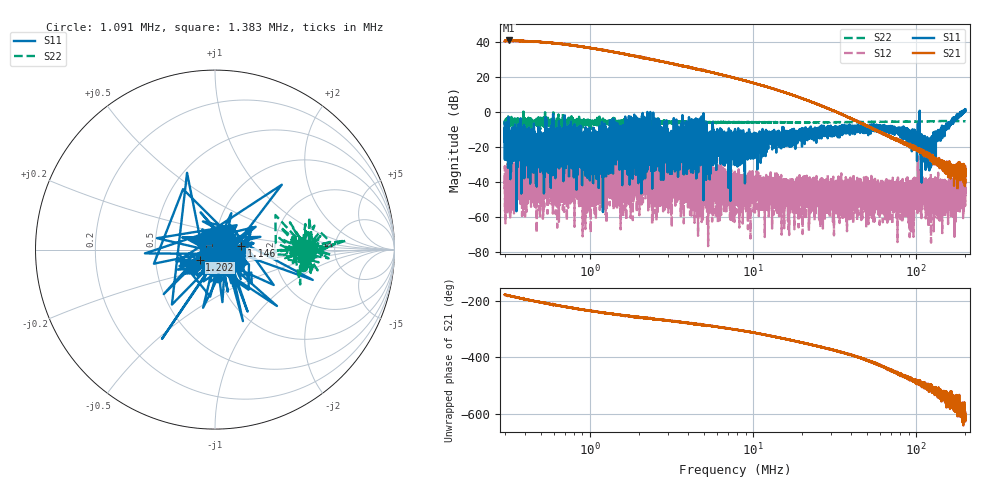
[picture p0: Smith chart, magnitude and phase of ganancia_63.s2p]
# Hz S DB R 50
! CMT, M5065, 19127446, 24.2.4/2
! Date: 11/1/2024 3:51:36 PM
! Data: Format (Calibration Info)
! Freq	S11:dB/Ang(F2)	S21:dB/Ang(F2)	S12:dB/Ang(F2)	S22:dB/Ang(F2)
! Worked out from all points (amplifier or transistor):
!   9000 points, 300 kHz to 200 MHz, reference 50 ohm
!   highest |S21| = 40.6 dB at 317.4 kHz (marker M1)
!   |S21| within 3 dB of that: start of sweep to 803.2 kHz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
!   unconditionally stable (mu >= 1): 6.009 MHz to 104.8 MHz; 105 MHz to 188.4 MHz; 188.6 MHz to 191.3 MHz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
!   at 886.8 kHz: K = 1.85, MAG = 39.1 dB, |S12| = -51.6 dB
!   at 7.749 MHz: K = 5.66, MAG = 20.7 dB, |S12| = -43.1 dB
!   at 200 MHz: K = -1691.84, MSG = 5.6 dB, |S12| = -47.0 dB
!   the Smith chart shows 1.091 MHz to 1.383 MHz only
!   S11 on the Smith chart (normalised r, x): 1.091 MHz: 0.98, -0.32; 1.146 MHz: 1.34, +0.06; 1.202 MHz: 0.84, -0.10; 1.383 MHz: 1.16, -0.45
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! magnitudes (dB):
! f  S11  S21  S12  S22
! 300 kHz  -6.1  40.2  -39.9  -6.7
! 317.4 kHz  -3.0  40.6  -40.6  -6.8
! 464.8 kHz  -23.3  40.0  -41.4  -5.5
! 557.2 kHz  -34.9  39.5  -38.0  -5.9
! 597.3 kHz  -21.5  39.2  -26.2  -1.8
! 886.8 kHz  -12.5  37.3  -51.6  -5.9
! 1.091 MHz  -16.0  35.9  -34.7  -6.1
! 1.146 MHz  -16.7  35.4  -43.8  -5.8
! 1.202 MHz  -19.8  35.2  -27.5  -4.5
! 1.282 MHz  -23.1  34.7  -43.8  -6.4
! 1.383 MHz  -13.3  34.2  -39.3  -5.6
! 2.155 MHz  -16.3  30.6  -33.9  -5.9
! 2.621 MHz  -13.0  29.2  -40.4  -6.3
! 4.663 MHz  -28.4  24.1  -40.5  -6.2
! 7.749 MHz  -16.7  19.2  -43.1  -5.9
! 22.91 MHz  -15.3  5.5  -45.8  -6.0
! 67.71 MHz  -11.5  -14.1  -43.6  -5.7
! 94.61 MHz  -11.4  -20.4  -39.1  -5.6
! 107.3 MHz  -19.3  -22.9  -41.3  -5.6
! 120.3 MHz  -22.6  -25.8  -52.8  -5.5
! 133.9 MHz  -11.7  -29.8  -39.4  -5.3
! 200 MHz  1.3  -35.8  -47.0  -5.4
